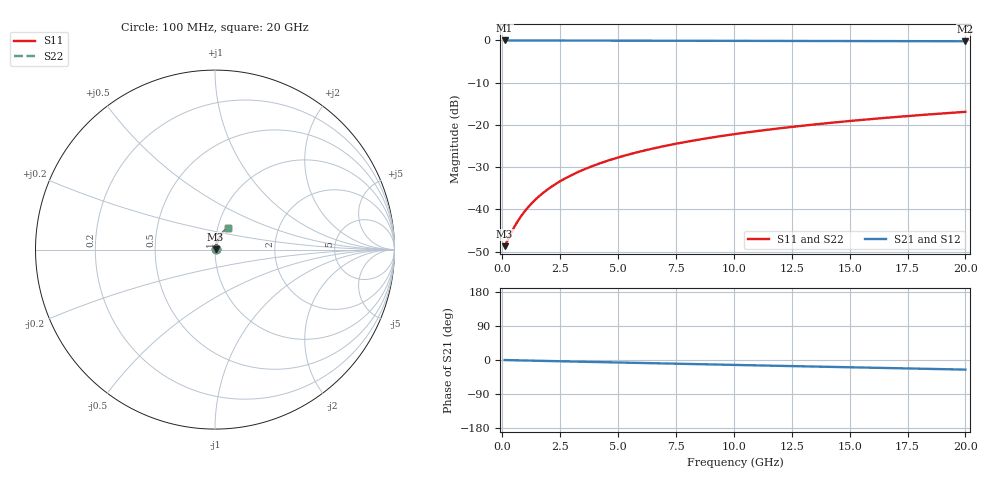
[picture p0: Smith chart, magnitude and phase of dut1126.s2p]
! Touchstone file exported from HFSS 2026.1.0
!  File:  C:/ffzhzh/LocalFiles/Ansys_Project_Files/temp_train_TMRDL_1126_1783161696_22436.aedt
!  Generated:  06:42:42 PM Jul  4, 2026
!  Design:  TMRDL
!  Project:  temp_train_TMRDL_1126_1783161696_22436
! Variables:
!  h_bsmrdl = 2um
!  h_ox = 20um
!  h_rdl = 5um
!  h_sub = 80um
!  h_tmrdl = 4.4um
!  h_tsv = 80um
!  h_via = 3um
!  l_bsmrdl = 300um
!  l_sub = 835.9um
!  l_tmrdl = 435.9um
!  m_sub = 200um
!  pitch = 17.68um
!  r_tsv = 6um
!  s_tmrdl = 10um
!  w_bsmrdl = 18um
!  w_sub = 500um
!  w_tmrdl = 10.17um
!  x_tsv_center1 = 440.985um
!  x_tsv_center2 = 758.985um
!  x_tsv_center3 = 1205.055um
!  x_tsv_center4 = 1523.055um
!  x_tsv_center5 = 1969.125um
!  x_tsv_center6 = 2287.125um
# GHz S MA R 50.000000
! Terminal data exported
! Port[1] = TM_RDL1_1_T1
! Port[2] = TM_RDL1_1_T2
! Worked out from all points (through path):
!   200 points, 100 MHz to 20 GHz, reference 50 ohm
!   highest |S21| = -0.03 dB at 100 MHz (marker M1); lowest = -0.2 dB at 20 GHz (marker M2)
!   group delay of S21, straight-line fit = 3.51 ps
!   lowest |S11| = -48.7 dB at 100 MHz (marker M3), VSWR 1.01, Z = 50.4 + j0.103 ohm
!   |S11| at or under -10 dB: start of sweep to end of sweep
!   |S22| runs from -48.7 to -16.9 dB; largest |S21 - S12| = 3.5e-15
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0.1  0.003669 16.1  0.9965 -0.1  0.9965 -0.1  0.003669 16.1
! Gamma 0 0 0 0
! Port Impedance 50 0 50 0
0.4  0.005389 43.6  0.9961 -0.6  0.9961 -0.6  0.005397 43.6
0.5  0.006061 48.6  0.996 -0.7  0.996 -0.7  0.006071 48.5
0.7  0.007476 55.8  0.9958 -1.0  0.9958 -1.0  0.007481 55.7
0.8  0.008211 58.5  0.9957 -1.1  0.9957 -1.1  0.008212 58.4
1  0.009717 62.6  0.9956 -1.4  0.9956 -1.4  0.009714 62.5
1.2  0.01126 65.5  0.9955 -1.6  0.9955 -1.6  0.01125 65.5
1.4  0.01282 67.7  0.9954 -1.9  0.9954 -1.9  0.01281 67.6
1.8  0.01597 70.5  0.9951 -2.4  0.9951 -2.4  0.01596 70.5
2.3  0.01994 72.5  0.9948 -3.1  0.9948 -3.1  0.01994 72.5
2.9  0.0247 73.8  0.9944 -3.9  0.9944 -3.9  0.0247 73.8
3.5  0.02945 74.2  0.9939 -4.6  0.9939 -4.6  0.02945 74.2
4.2  0.03493 74.3  0.9933 -5.6  0.9933 -5.6  0.03493 74.3
5  0.0411 74.0  0.9924 -6.6  0.9924 -6.6  0.0411 74.0
5.9  0.04793 73.4  0.9915 -7.8  0.9915 -7.8  0.04793 73.4
6.8  0.05462 72.6  0.9905 -8.9  0.9905 -8.9  0.05462 72.6
8.3  0.06551 71.2  0.9887 -10.8  0.9887 -10.8  0.06551 71.2
10.1  0.07818 69.3  0.9866 -13.1  0.9866 -13.1  0.07819 69.3
11.7  0.08915 67.7  0.9848 -15.1  0.9848 -15.1  0.08916 67.7
13.4  0.1005 65.9  0.9828 -17.2  0.9828 -17.2  0.1006 65.9
16.7  0.122 62.4  0.979 -21.3  0.979 -21.3  0.122 62.3
20  0.1425 58.8  0.975 -25.4  0.975 -25.4  0.1425 58.7
